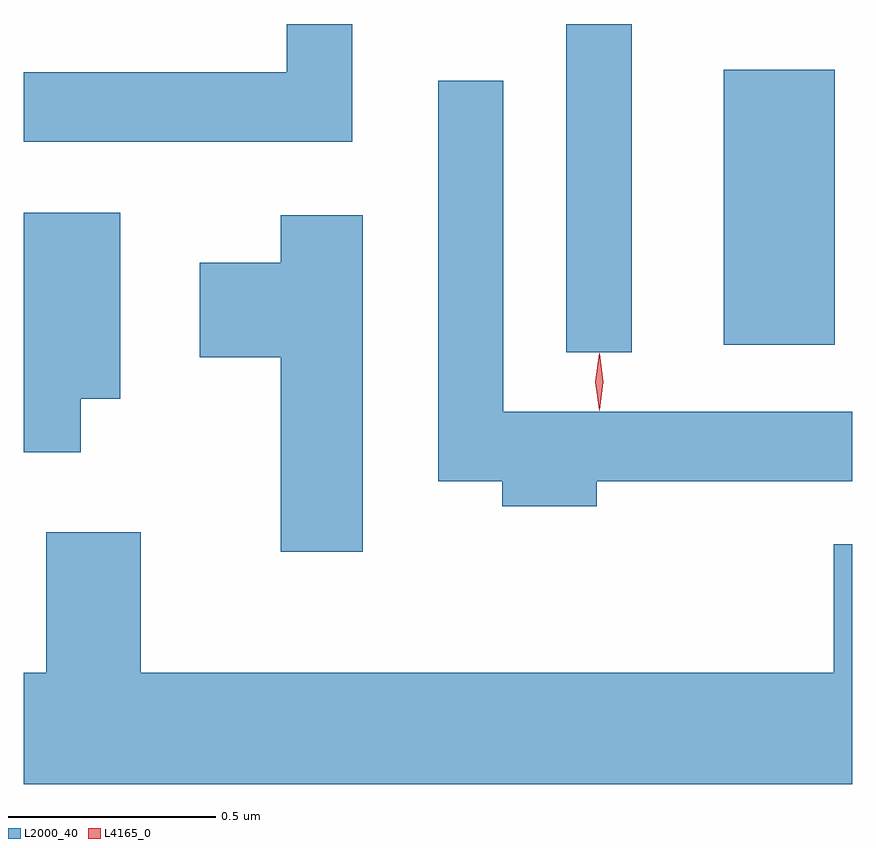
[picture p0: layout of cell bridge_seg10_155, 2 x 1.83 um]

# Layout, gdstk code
import gdstk
lib = gdstk.Library(unit=1e-6, precision=1e-09)
def R(c, l, rs):  # rectangles x0, y0, x1, y1
    for r in rs: c.add(gdstk.rectangle(r[:2], r[2:], *l))
def P(c, l, *ps):  # polygons
    for p in ps: c.add(gdstk.Polygon(p, *l))
L2000_40 = (2000, 40)
L4165_0 = (4165, 0)

bridge_seg10_155 = lib.new_cell('bridge_seg10_155')
R(bridge_seg10_155, L2000_40, [(1688.586,2099.418,1688.744,2100.21), (1688.966,2099.436,1689.234,2100.099)])
P(bridge_seg10_155, L2000_40, [(1688.069,2100.21),(1687.911,2100.21),(1687.911,2100.094),(1687.276,2100.094),(1687.276,2099.926),(1688.069,2099.926)],
  [(1688.659,2099.106),(1689.276,2099.106),(1689.276,2099.274),(1688.434,2099.274),(1688.434,2100.073),(1688.276,2100.073),(1688.276,2099.106),(1688.431,2099.106),(1688.431,2099.046),(1688.659,2099.046)],
  [(1687.414,2099.306),(1687.509,2099.306),(1687.509,2099.754),(1687.276,2099.754),(1687.276,2099.176),(1687.414,2099.176)],
  [(1688.094,2099.749),(1687.896,2099.749),(1687.896,2099.634),(1687.701,2099.634),(1687.701,2099.406),(1687.896,2099.406),(1687.896,2098.936),(1688.094,2098.936)],
  [(1689.276,2098.954),(1689.231,2098.954),(1689.231,2098.644),(1687.559,2098.644),(1687.559,2098.984),(1687.331,2098.984),(1687.331,2098.644),(1687.276,2098.644),(1687.276,2098.376),(1689.276,2098.376)])
P(bridge_seg10_155, L4165_0, [(1688.665,2099.279),(1688.665,2099.28),(1688.655,2099.346),(1688.665,2099.412),(1688.665,2099.413),(1688.666,2099.412),(1688.675,2099.346),(1688.666,2099.28)],
  [(1688.665,2099.277),(1688.665,2099.278),(1688.655,2099.347),(1688.665,2099.416),(1688.665,2099.416),(1688.666,2099.416),(1688.675,2099.347),(1688.666,2099.278)])

lib.write_gds('bridge_seg10_155.gds')
